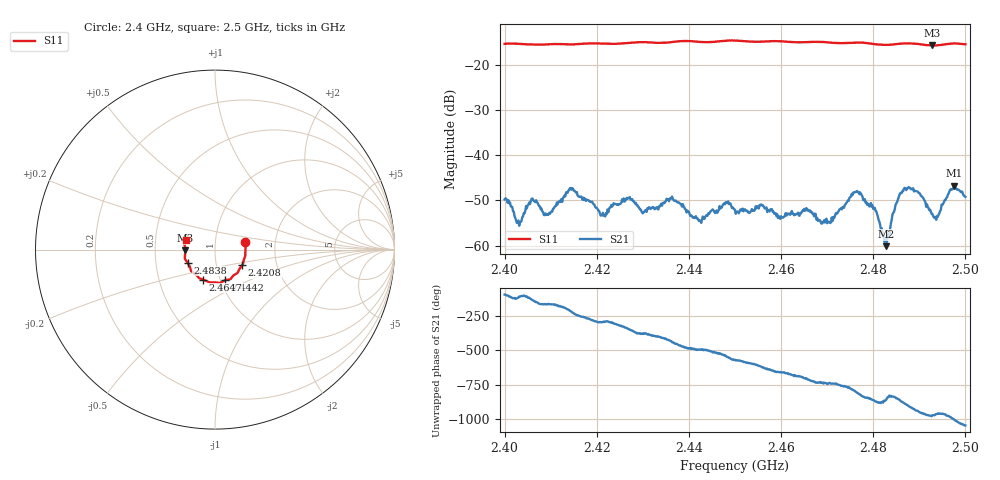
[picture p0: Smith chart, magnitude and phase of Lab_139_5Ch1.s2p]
# Hz S RI R 50
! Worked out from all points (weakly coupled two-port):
!   601 points, 2.4 GHz to 2.5 GHz, reference 50 ohm
!   highest |S21| = -46.75 dB at 2.4975 GHz (marker M1); lowest = -60.1 dB at 2.4828 GHz (marker M2)
!   lowest |S11| = -15.6 dB at 2.4928 GHz (marker M3), VSWR 1.40, Z = 35.8 - j0.351 ohm
!   |S11| at or under -10 dB: start of sweep to end of sweep
!   S12 and S22 are empty: the file has one direction only
!   S11 on the Smith chart (normalised r, x): 2.4 GHz: 1.40, +0.12; 2.4208 GHz: 1.33, -0.24; 2.4442 GHz: 1.05, -0.37; 2.4647 GHz: 0.83, -0.29; 2.4838 GHz: 0.73, -0.11; 2.5 GHz: 0.72, +0.08
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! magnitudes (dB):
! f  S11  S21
! 2.4 GHz  -15.2  -49.8
! 2.4032 GHz  -15.2  -55.6
! 2.4058 GHz  -15.4  -49.7
! 2.409 GHz  -15.4  -53.1
! 2.4143 GHz  -15.4  -47.2
! 2.4167 GHz  -15.2  -49.1
! 2.4208 GHz  -15.2  -53.4
! 2.4268 GHz  -15.1  -49.5
! 2.4333 GHz  -15.0  -52.0
! 2.4442 GHz  -14.9  -52.9
! 2.45 GHz  -14.5  -52.2
! 2.4647 GHz  -14.9  -52.2
! 2.4667 GHz  -14.8  -52.6
! 2.4707 GHz  -15.0  -55.0
! 2.4768 GHz  -15.0  -48.1
! 2.4828 GHz  -15.5  -60.1
! 2.4833 GHz  -15.5  -57.5
! 2.4838 GHz  -15.4  -55.1
! 2.4872 GHz  -15.1  -47.7
! 2.4928 GHz  -15.6  -53.0
! 2.4975 GHz  -15.2  -46.7
! 2.5 GHz  -15.4  -49.2
